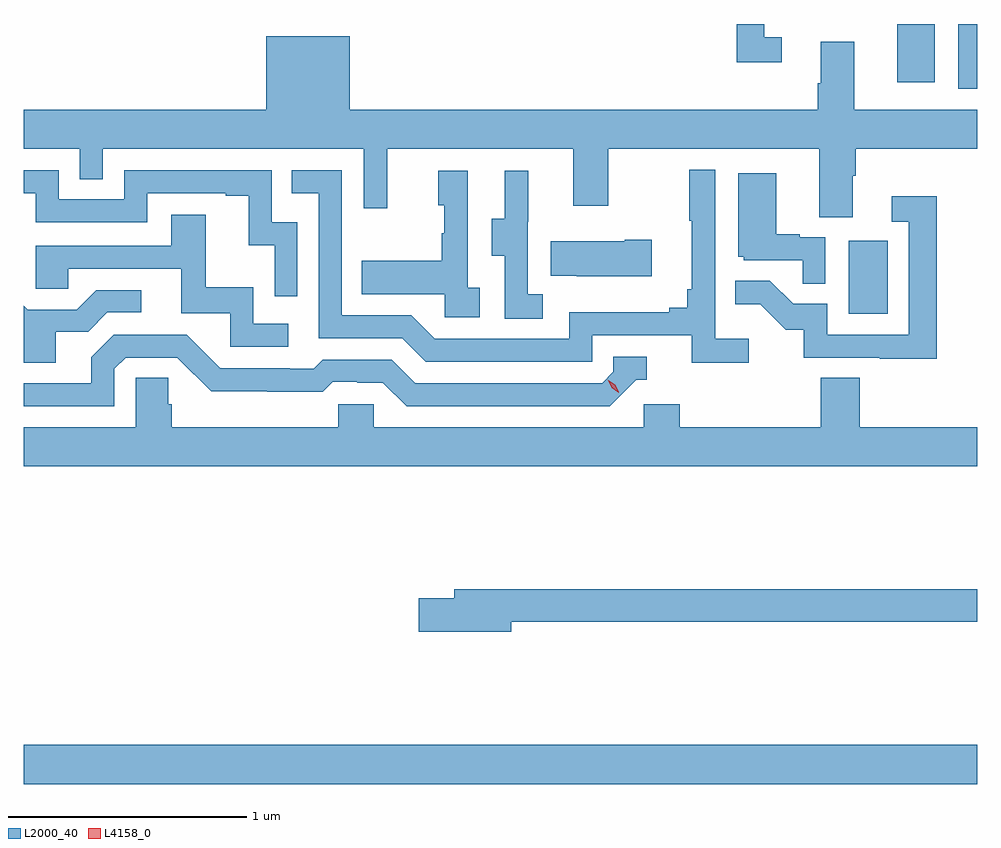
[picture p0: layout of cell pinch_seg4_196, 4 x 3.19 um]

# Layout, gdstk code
import gdstk
lib = gdstk.Library(unit=1e-6, precision=1e-09)
def R(c, l, rs):  # rectangles x0, y0, x1, y1
    for r in rs: c.add(gdstk.rectangle(r[:2], r[2:], *l))
def P(c, l, *ps):  # polygons
    for p in ps: c.add(gdstk.Polygon(p, *l))
L2000_40 = (2000, 40)
L4158_0 = (4158, 0)

pinch_seg4_196 = lib.new_cell('pinch_seg4_196')
R(pinch_seg4_196, L2000_40, [(971.758,819.464,975.758,819.628), (975.218,821.436,975.382,821.743), (975.678,822.381,975.758,822.652)])
P(pinch_seg4_196, L2000_40, [(975.58,822.652),(975.323,822.652),(975.323,822.651),(975.422,822.651),(975.422,822.408),(975.58,822.408)],
  [(974.938,822.597),(974.865,822.597),(974.865,822.652),(974.749,822.652),(974.749,822.492),(974.938,822.492)],
  [(975.235,822.016),(975.248,822.016),(975.248,822.128),(975.758,822.128),(975.758,822.292),(975.241,822.292),(975.241,822.578),(975.101,822.578),(975.101,822.404),(975.089,822.404),(975.089,822.292),(973.126,822.292),(973.126,822.601),(972.776,822.601),(972.776,822.292),(971.758,822.292),(971.758,822.128),(971.994,822.128),(971.994,822.001),(972.09,822.001),(972.09,822.128),(973.185,822.128),(973.185,821.88),(973.283,821.88),(973.283,822.128),(974.063,822.128),(974.063,821.889),(974.211,821.889),(974.211,822.128),(975.095,822.128),(975.095,821.842),(975.235,821.842)],
  [(974.8,821.332),(974.658,821.332),(974.658,822.04),(974.55,822.04),(974.55,821.827),(974.561,821.827),(974.561,821.539),(974.542,821.539),(974.542,821.462),(974.465,821.462),(974.465,821.443),(974.046,821.443),(974.046,821.331),(973.482,821.331),(973.383,821.43),(973.092,821.43),(973.092,822.039),(972.883,822.039),(972.883,821.943),(972.996,821.943),(972.996,821.334),(973.346,821.334),(973.445,821.235),(974.142,821.235),(974.142,821.346),(974.561,821.346),(974.561,821.23),(974.8,821.23)],
  [(972.906,821.82),(972.798,821.82),(972.798,822.039),(972.18,822.039),(972.18,821.916),(971.904,821.916),(971.904,822.039),(971.758,822.039),(971.758,821.943),(971.808,821.943),(971.808,821.82),(972.276,821.82),(972.276,821.943),(972.605,821.943),(972.605,821.931),(972.701,821.931),(972.701,821.723),(972.81,821.723),(972.81,821.511),(972.906,821.511)],
  [(973.936,821.519),(973.872,821.519),(973.872,821.823),(973.874,821.823),(973.874,822.037),(973.775,822.037),(973.775,821.835),(973.721,821.835),(973.721,821.68),(973.776,821.68),(973.776,821.416),(973.936,821.416)],
  [(973.672,821.546),(973.62,821.546),(973.62,822.037),(973.496,822.037),(973.496,821.892),(973.522,821.892),(973.522,821.774),(973.512,821.774),(973.512,821.659),(973.177,821.659),(973.177,821.519),(973.524,821.519),(973.524,821.421),(973.672,821.421)],
  [(975.12,821.757),(975.014,821.757),(975.014,821.77),(974.914,821.77),(974.914,822.025),(974.756,822.025),(974.756,821.676),(974.778,821.676),(974.778,821.661),(975.025,821.661),(975.025,821.563),(975.12,821.563)],
  [(975.587,821.929),(975.399,821.929),(975.399,821.823),(975.471,821.823),(975.471,821.349),(975.129,821.349),(975.129,821.478),(974.985,821.478),(974.887,821.576),(974.743,821.576),(974.743,821.477),(974.847,821.477),(974.954,821.37),(975.031,821.37),(975.031,821.253),(975.349,821.253),(975.349,821.248),(975.587,821.248)],
  [(972.868,821.394),(972.72,821.394),(972.72,821.548),(972.521,821.548),(972.521,821.851),(972.377,821.851),(972.377,821.721),(971.808,821.721),(971.808,821.541),(971.945,821.541),(971.945,821.625),(972.419,821.625),(972.419,821.439),(972.624,821.439),(972.624,821.298),(972.868,821.298)],
  [(974.392,821.748),(974.279,821.748),(974.279,821.74),(973.969,821.74),(973.969,821.597),(974.077,821.597),(974.077,821.594),(974.392,821.594)],
  [(971.893,821.362),(972.028,821.362),(972.108,821.442),(972.25,821.442),(972.25,821.535),(972.062,821.535),(971.981,821.454),(971.775,821.454),(971.758,821.471),(971.758,821.23),(971.893,821.23)],
  [(972.138,821.205),(972.186,821.253),(972.402,821.253),(972.544,821.111),(972.78,821.111),(972.78,821.109),(973.013,821.109),(973.055,821.151),(973.158,821.151),(973.158,821.148),(973.265,821.148),(973.364,821.049),(974.217,821.049),(974.328,821.16),(974.371,821.16),(974.371,821.256),(974.232,821.256),(974.232,821.193),(974.184,821.145),(973.401,821.145),(973.302,821.244),(973.013,821.244),(972.974,821.205),(972.875,821.205),(972.875,821.208),(972.582,821.208),(972.441,821.349),(972.135,821.349),(972.041,821.255),(972.041,821.145),(971.758,821.145),(971.758,821.049),(972.138,821.049)],
  [(975.758,820.96),(975.266,820.96),(975.266,821.168),(975.101,821.168),(975.101,820.96),(974.51,820.96),(974.51,821.058),(974.358,821.058),(974.358,820.96),(973.227,820.96),(973.227,821.058),(973.077,821.058),(973.077,820.96),(972.38,820.96),(972.38,821.058),(972.365,821.058),(972.365,821.168),(972.228,821.168),(972.228,820.96),(971.758,820.96),(971.758,820.796),(975.758,820.796)],
  [(973.804,820.144),(975.758,820.144),(975.758,820.28),(973.565,820.28),(973.565,820.244),(973.416,820.244),(973.416,820.102),(973.804,820.102)])
P(pinch_seg4_196, L4158_0, [(974.255,821.106),(974.224,821.126),(974.208,821.159),(974.208,821.159),(974.208,821.159),(974.239,821.139),(974.255,821.107),(974.255,821.106)])

lib.write_gds('pinch_seg4_196.gds')
